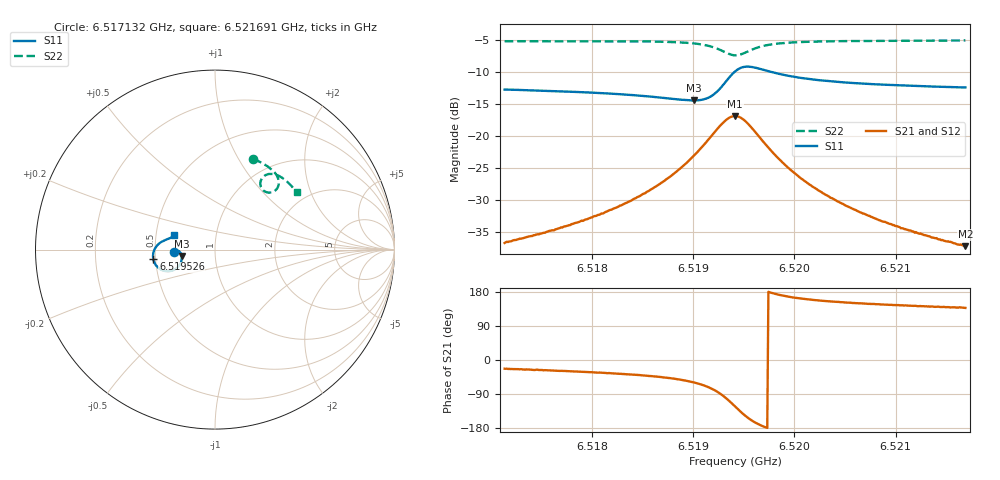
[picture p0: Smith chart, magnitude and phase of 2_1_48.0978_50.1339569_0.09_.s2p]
#  HZ  S  RI  R  50.00
! Rohde & Schwarz Vector Network Analyzer
! Rohde-Schwarz,ZNB20-2Port,1311601062101988,3.16
! Created: UTC 12/23/2023, 3:34:44 AM
! freq[Hz]  re:S11  im:S11  re:S21  im:S21  re:S12  im:S12  re:S22  im:S22
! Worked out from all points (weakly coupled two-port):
!   401 points, 6.517132 GHz to 6.521691 GHz, reference 50 ohm
!   highest |S21| = -16.89 dB at 6.519412 GHz (marker M1); lowest = -37.2 dB at 6.521691 GHz (marker M2)
!   lowest |S11| = -14.5 dB at 6.519001 GHz (marker M3), VSWR 1.47, Z = 34.2 - j2.48 ohm
!   |S11| at or under -10 dB: start of sweep to 6.519407 GHz; 6.51977 GHz to end of sweep
!   |S22| runs from -7.4 to -5.1 dB; largest |S21 - S12| = 0.0043
!   S11 on the Smith chart (normalised r, x): 6.517132 GHz: 0.63, -0.02; 6.519526 GHz: 0.49, -0.06; 6.521691 GHz: 0.62, +0.10
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6.5171321e9  -0.2299 -0.0141  0.0135 -0.00574  0.0137 -0.00531  0.2137 0.5055
6.5176336e9  -0.2239 -0.00725  0.0165 -0.00889  0.0167 -0.00826  0.2507 0.4886
6.5178957e9  -0.2198 -0.00462  0.0188 -0.0113  0.019 -0.0106  0.27 0.4779
6.518363e9  -0.2095 -0.0033  0.0243 -0.019  0.025 -0.0182  0.3053 0.4547
6.5186594e9  -0.2 -0.00847  0.0299 -0.0295  0.0309 -0.0286  0.3285 0.4336
6.5188189e9  -0.1934 -0.0163  0.0335 -0.0395  0.0348 -0.0386  0.341 0.4182
6.5190013e9  -0.1862 -0.0349  0.0361 -0.0599  0.038 -0.0592  0.3532 0.3923
6.5191039e9  -0.1857 -0.0544  0.0333 -0.0787  0.0357 -0.0783  0.3559 0.371
6.5191951e9  -0.1934 -0.0796  0.0222 -0.1015  0.0254 -0.1016  0.3499 0.3476
6.5193204e9  -0.2381 -0.1168  -0.0231 -0.1309  -0.0197 -0.1325  0.3148 0.3187
6.519366e9  -0.2673 -0.1205  -0.05 -0.1312  -0.0465 -0.1336  0.2937 0.3182
6.5194116e9  -0.2982 -0.1126  -0.0767 -0.1208  -0.0739 -0.124  0.2729 0.3271
6.5194686e9  -0.329 -0.087  -0.1014 -0.0951  -0.0995 -0.0987  0.256 0.3492
6.5195256e9  -0.3436 -0.0537  -0.1108 -0.0646  -0.1098 -0.0682  0.2528 0.3744
6.5196396e9  -0.3374 3.2e-05  -0.0994 -0.0193  -0.0996 -0.0223  0.2725 0.4089
6.5197535e9  -0.3175 0.0281  -0.0793 0.00163  -0.08 -0.000484  0.2982 0.4207
6.5199473e9  -0.2904 0.0477  -0.0544 0.0127  -0.0552 0.0113  0.332 0.4196
6.5201752e9  -0.2707 0.0561  -0.0378 0.0146  -0.0386 0.0137  0.359 0.409
6.5205286e9  -0.2531 0.063  -0.0248 0.0135  -0.0256 0.013  0.3892 0.389
6.5209389e9  -0.2406 0.0688  -0.0171 0.0117  -0.0178 0.0114  0.4163 0.3645
6.521372e9  -0.2314 0.0748  -0.0125 0.0102  -0.013 0.01  0.4403 0.338
6.5216911e9  -0.2259 0.079  -0.0102 0.00938  -0.0107 0.00916  0.4563 0.3182
